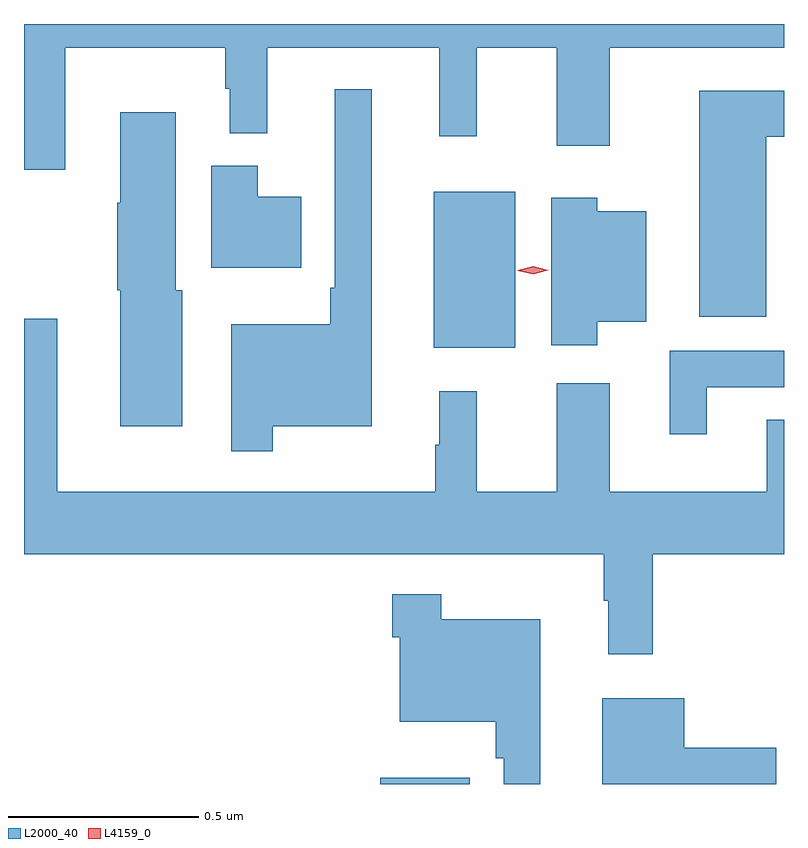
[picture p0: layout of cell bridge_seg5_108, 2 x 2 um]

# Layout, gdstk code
import gdstk
lib = gdstk.Library(unit=1e-6, precision=1e-09)
def R(c, l, rs):  # rectangles x0, y0, x1, y1
    for r in rs: c.add(gdstk.rectangle(r[:2], r[2:], *l))
def P(c, l, *ps):  # polygons
    for p in ps: c.add(gdstk.Polygon(p, *l))
L2000_40 = (2000, 40)
L4159_0 = (4159, 0)

bridge_seg5_108 = lib.new_cell('bridge_seg5_108')
R(bridge_seg5_108, L2000_40, [(414.218,881.463,414.454,881.479), (414.359,882.611,414.574,883.021)])
P(bridge_seg5_108, L2000_40, [(413.389,883.4),(413.811,883.4),(413.811,883.293),(413.822,883.293),(413.822,883.175),(413.921,883.175),(413.921,883.4),(414.374,883.4),(414.374,883.167),(414.473,883.167),(414.473,883.4),(414.683,883.4),(414.683,883.143),(414.823,883.143),(414.823,883.4),(415.281,883.4),(415.281,883.463),(413.281,883.463),(413.281,883.08),(413.389,883.08)],
  [(413.935,882.404),(414.196,882.404),(414.196,883.291),(414.099,883.291),(414.099,882.769),(414.087,882.769),(414.087,882.673),(413.826,882.673),(413.826,882.339),(413.935,882.339)],
  [(415.234,883.166),(415.281,883.166),(415.281,883.288),(415.058,883.288),(415.058,882.692),(415.234,882.692)],
  [(413.698,882.762),(413.68,882.762),(413.68,883.231),(413.534,883.231),(413.534,882.992),(413.527,882.992),(413.527,882.762),(413.534,882.762),(413.534,882.404),(413.698,882.404)],
  [(414.01,883.009),(413.896,883.009),(413.896,883.09),(413.774,883.09),(413.774,882.821),(414.01,882.821)],
  [(414.79,882.68),(414.919,882.68),(414.919,882.97),(414.79,882.97),(414.79,883.006),(414.668,883.006),(414.668,882.618),(414.79,882.618)],
  [(414.935,882.068),(415.281,882.068),(415.281,882.422),(415.235,882.422),(415.235,882.232),(414.823,882.232),(414.823,882.517),(414.683,882.517),(414.683,882.232),(414.473,882.232),(414.473,882.496),(414.374,882.496),(414.374,882.356),(414.363,882.356),(414.363,882.232),(413.368,882.232),(413.368,882.688),(413.281,882.688),(413.281,882.068),(414.807,882.068),(414.807,881.945),(414.818,881.945),(414.818,881.805),(414.935,881.805)],
  [(415.078,882.507),(415.281,882.507),(415.281,882.603),(414.98,882.603),(414.98,882.384),(415.078,882.384)],
  [(414.64,881.896),(414.379,881.896),(414.379,881.962),(414.25,881.962),(414.25,881.849),(414.27,881.849),(414.27,881.627),(414.523,881.627),(414.523,881.531),(414.543,881.531),(414.543,881.463),(414.64,881.463)],
  [(415.261,881.558),(415.018,881.558),(415.018,881.689),(414.803,881.689),(414.803,881.463),(415.261,881.463)])
P(bridge_seg5_108, L4159_0, [(414.621,882.805),(414.58,882.814),(414.58,882.814),(414.58,882.815),(414.621,882.825),(414.661,882.815),(414.661,882.815),(414.661,882.815)])

lib.write_gds('bridge_seg5_108.gds')
